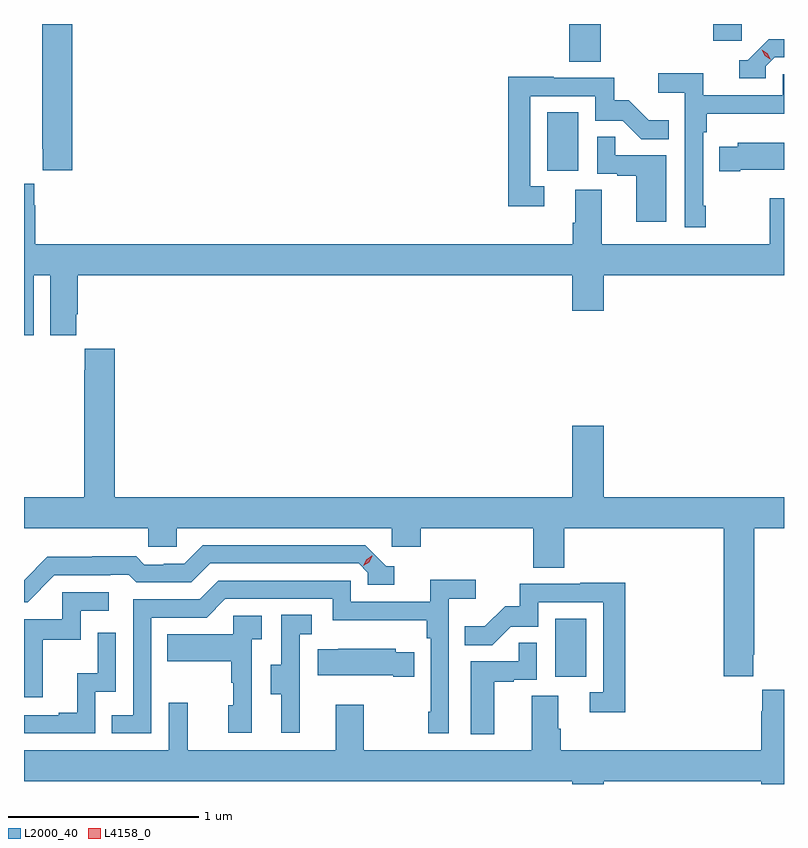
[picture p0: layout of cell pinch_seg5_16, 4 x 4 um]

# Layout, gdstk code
import gdstk
lib = gdstk.Library(unit=1e-6, precision=1e-09)
def R(c, l, rs):  # rectangles x0, y0, x1, y1
    for r in rs: c.add(gdstk.rectangle(r[:2], r[2:], *l))
def P(c, l, *ps):  # polygons
    for p in ps: c.add(gdstk.Polygon(p, *l))
L2000_40 = (2000, 40)
L4158_0 = (4158, 0)

pinch_seg5_16 = lib.new_cell('pinch_seg5_16')
R(pinch_seg5_16, L2000_40, [(1141.94,905.262,1142.104,905.569), (1141.898,907.926,1142.062,908.233), (1142.015,908.5,1142.18,908.698), (1142.771,908.61,1142.922,908.698)])
P(pinch_seg5_16, L2000_40, [(1139.399,908.698),(1139.239,908.698),(1139.239,908.041),(1139.243,908.041),(1139.243,907.929),(1139.399,907.929)],
  [(1143.048,908.475),(1143.096,908.523),(1143.144,908.523),(1143.144,908.619),(1143.063,908.619),(1142.952,908.508),(1142.909,908.508),(1142.909,908.412),(1143.048,908.412)],
  [(1142.731,907.741),(1142.718,907.741),(1142.718,908.129),(1142.738,908.129),(1142.738,908.225),(1143.144,908.225),(1143.144,908.433),(1143.138,908.433),(1143.138,908.322),(1142.72,908.322),(1142.72,908.438),(1142.481,908.438),(1142.481,908.336),(1142.622,908.336),(1142.622,907.629),(1142.731,907.629)],
  [(1141.882,907.845),(1141.809,907.845),(1141.809,908.319),(1142.151,908.319),(1142.151,908.19),(1142.295,908.19),(1142.393,908.092),(1142.537,908.092),(1142.537,908.191),(1142.433,908.191),(1142.326,908.298),(1142.25,908.298),(1142.25,908.415),(1141.931,908.415),(1141.931,908.42),(1141.693,908.42),(1141.693,907.74),(1141.882,907.74)],
  [(1142.524,908.007),(1142.255,908.007),(1142.255,908.105),(1142.16,908.105),(1142.16,907.911),(1142.267,907.911),(1142.267,907.899),(1142.366,907.899),(1142.366,907.656),(1142.524,907.656)],
  [(1142.914,907.931),(1143.144,907.931),(1143.144,908.074),(1142.901,908.074),(1142.901,908.053),(1142.803,908.053),(1142.803,907.924),(1142.914,907.924)],
  [(1139.194,907.376),(1139.282,907.376),(1139.282,907.059),(1139.419,907.059),(1139.419,907.171),(1139.426,907.171),(1139.426,907.376),(1142.03,907.376),(1142.03,907.188),(1142.194,907.188),(1142.194,907.376),(1143.144,907.376),(1143.144,907.78),(1143.07,907.78),(1143.07,907.54),(1142.185,907.54),(1142.185,907.826),(1142.045,907.826),(1142.045,907.652),(1142.033,907.652),(1142.033,907.54),(1139.204,907.54),(1139.204,907.745),(1139.197,907.745),(1139.197,907.858),(1139.144,907.858),(1139.144,907.059),(1139.194,907.059)],
  [(1142.983,905.377),(1142.988,905.377),(1142.988,906.044),(1143.144,906.044),(1143.144,906.208),(1142.194,906.208),(1142.194,906.583),(1142.03,906.583),(1142.03,906.208),(1139.621,906.208),(1139.621,906.988),(1139.465,906.988),(1139.465,906.875),(1139.461,906.875),(1139.461,906.208),(1139.144,906.208),(1139.144,906.044),(1139.799,906.044),(1139.799,905.946),(1139.949,905.946),(1139.949,906.044),(1141.08,906.044),(1141.08,905.946),(1141.232,905.946),(1141.232,906.044),(1141.823,906.044),(1141.823,905.836),(1141.988,905.836),(1141.988,906.044),(1142.828,906.044),(1142.828,905.265),(1142.983,905.265)],
  [(1139.304,905.796),(1139.597,905.796),(1139.597,905.799),(1139.696,905.799),(1139.735,905.76),(1140.024,905.76),(1140.123,905.859),(1140.906,905.859),(1140.954,905.811),(1140.954,905.748),(1141.093,905.748),(1141.093,905.844),(1141.05,905.844),(1140.939,905.955),(1140.086,905.955),(1139.987,905.856),(1139.88,905.856),(1139.88,905.853),(1139.777,905.853),(1139.735,905.896),(1139.502,905.896),(1139.502,905.893),(1139.266,905.893),(1139.144,905.771),(1139.144,905.655),(1139.163,905.655)],
  [(1139.814,905.574),(1140.105,905.574),(1140.204,905.673),(1140.768,905.673),(1140.768,905.561),(1141.264,905.561),(1141.264,905.465),(1141.284,905.465),(1141.284,905.077),(1141.272,905.077),(1141.272,904.965),(1141.38,904.965),(1141.38,905.672),(1141.522,905.672),(1141.522,905.774),(1141.283,905.774),(1141.283,905.658),(1140.864,905.658),(1140.864,905.769),(1140.167,905.769),(1140.068,905.67),(1139.718,905.67),(1139.718,905.061),(1139.605,905.061),(1139.605,904.965),(1139.814,904.965)],
  [(1142.309,905.756),(1142.071,905.756),(1142.071,905.751),(1141.753,905.751),(1141.753,905.634),(1141.676,905.634),(1141.569,905.527),(1141.465,905.527),(1141.465,905.428),(1141.608,905.428),(1141.706,905.526),(1141.851,905.526),(1141.851,905.655),(1142.193,905.655),(1142.193,905.181),(1142.121,905.181),(1142.121,905.076),(1142.309,905.076)],
  [(1139.243,905.457),(1139.442,905.457),(1139.442,905.61),(1139.59,905.61),(1139.59,905.706),(1139.346,905.706),(1139.346,905.565),(1139.144,905.565),(1139.144,905.154),(1139.243,905.154)],
  [(1140.596,905.181),(1140.594,905.181),(1140.594,905.485),(1140.658,905.485),(1140.658,905.588),(1140.498,905.588),(1140.498,905.325),(1140.443,905.325),(1140.443,905.17),(1140.497,905.17),(1140.497,904.968),(1140.596,904.968)],
  [(1140.342,905.459),(1140.394,905.459),(1140.394,905.583),(1140.246,905.583),(1140.246,905.485),(1139.899,905.485),(1139.899,905.345),(1140.234,905.345),(1140.234,905.231),(1140.244,905.231),(1140.244,905.112),(1140.218,905.112),(1140.218,904.968),(1140.342,904.968)],
  [(1139.52,905.184),(1139.628,905.184),(1139.628,905.494),(1139.532,905.494),(1139.532,905.282),(1139.423,905.282),(1139.423,905.074),(1139.327,905.074),(1139.327,905.061),(1139.144,905.061),(1139.144,904.965),(1139.52,904.965)],
  [(1141.618,905.235),(1141.721,905.235),(1141.721,905.247),(1141.842,905.247),(1141.842,905.441),(1141.747,905.441),(1141.747,905.343),(1141.496,905.343),(1141.496,904.961),(1141.618,904.961)],
  [(1141.199,905.392),(1141.101,905.392),(1141.101,905.41),(1140.799,905.41),(1140.799,905.407),(1140.691,905.407),(1140.691,905.27),(1141.088,905.27),(1141.088,905.263),(1141.199,905.263)],
  [(1142.194,904.712),(1143.023,904.712),(1143.023,904.698),(1143.144,904.698),(1143.144,905.194),(1143.029,905.194),(1143.029,905.081),(1143.023,905.081),(1143.023,904.876),(1141.97,904.876),(1141.97,904.988),(1141.957,904.988),(1141.957,905.162),(1141.817,905.162),(1141.817,904.876),(1140.933,904.876),(1140.933,905.116),(1140.785,905.116),(1140.785,904.876),(1140.005,904.876),(1140.005,905.125),(1139.907,905.125),(1139.907,904.876),(1139.144,904.876),(1139.144,904.712),(1142.03,904.712),(1142.03,904.698),(1142.194,904.698)])
P(pinch_seg5_16, L4158_0, [(1143.073,908.51),(1143.042,908.53),(1143.026,908.562),(1143.026,908.562),(1143.026,908.562),(1143.057,908.543),(1143.073,908.511),(1143.073,908.51)],
  [(1140.929,905.846),(1140.929,905.846),(1140.945,905.879),(1140.975,905.899),(1140.976,905.899),(1140.976,905.898),(1140.96,905.866),(1140.929,905.846)])

lib.write_gds('pinch_seg5_16.gds')
